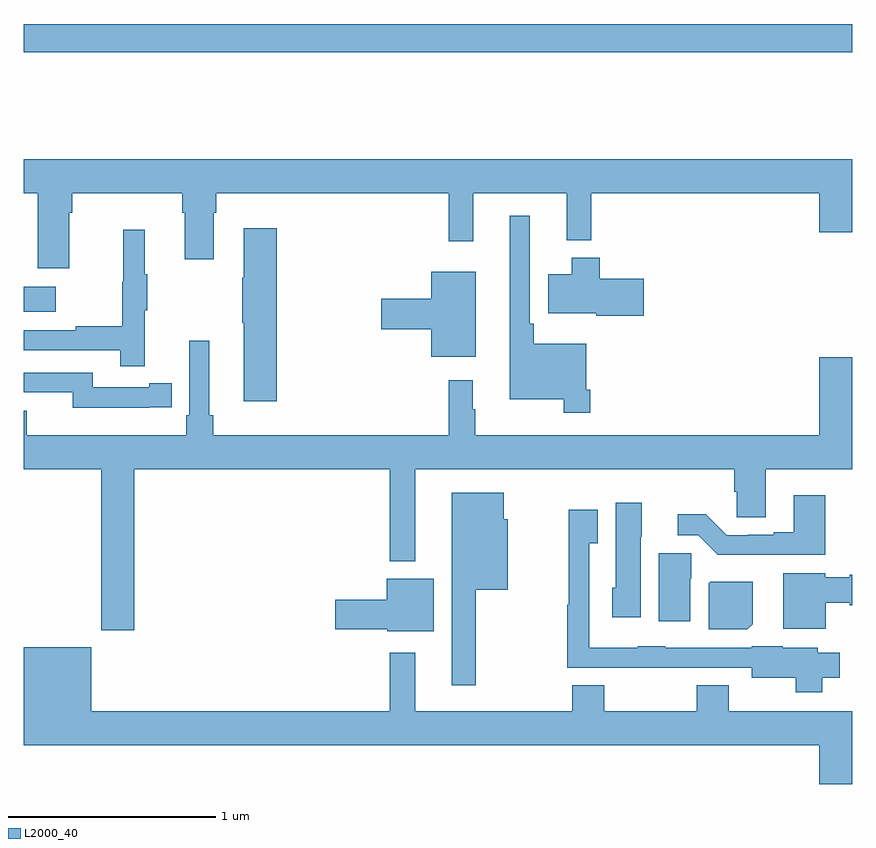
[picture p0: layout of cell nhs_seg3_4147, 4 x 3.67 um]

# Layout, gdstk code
import gdstk
lib = gdstk.Library(unit=1e-6, precision=1e-09)
def R(c, l, rs):  # rectangles x0, y0, x1, y1
    for r in rs: c.add(gdstk.rectangle(r[:2], r[2:], *l))
def P(c, l, *ps):  # polygons
    for p in ps: c.add(gdstk.Polygon(p, *l))
L2000_40 = (2000, 40)

nhs_seg3_4147 = lib.new_cell('nhs_seg3_4147')
R(nhs_seg3_4147, L2000_40, [(329,730.979,329.155,731.101), (329,732.232,333,732.368)])
P(nhs_seg3_4147, L2000_40, [(329,731.552),(329.069,731.552),(329.069,731.19),(329.221,731.19),(329.221,731.456),(329.234,731.456),(329.234,731.552),(329.765,731.552),(329.765,731.456),(329.777,731.456),(329.777,731.232),(329.917,731.232),(329.917,731.456),(329.93,731.456),(329.93,731.552),(331.051,731.552),(331.051,731.319),(331.169,731.319),(331.169,731.552),(331.622,731.552),(331.622,731.324),(331.739,731.324),(331.739,731.552),(332.84,731.552),(332.84,731.364),(333,731.364),(333,731.716),(329,731.716)],
  [(331.736,730.603),(331.716,730.603),(331.716,730.825),(331.463,730.825),(331.463,730.921),(331.443,730.921),(331.443,731.443),(331.346,731.443),(331.346,730.556),(331.608,730.556),(331.608,730.491),(331.736,730.491)],
  [(330.221,731.383),(330.062,731.383),(330.062,731.144),(330.055,731.144),(330.055,730.927),(330.062,730.927),(330.062,730.548),(330.221,730.548)],
  [(329.585,730.987),(329.596,730.987),(329.596,731.161),(329.585,731.161),(329.585,731.374),(329.482,731.374),(329.482,731.124),(329.475,731.124),(329.475,730.91),(329.251,730.91),(329.251,730.89),(329,730.89),(329,730.794),(329.467,730.794),(329.467,730.716),(329.585,730.716)],
  [(331.993,731.139),(331.781,731.139),(331.781,731.239),(331.646,731.239),(331.646,731.161),(331.532,731.161),(331.532,730.973),(331.764,730.973),(331.764,730.961),(331.993,730.961)],
  [(331.183,731.173),(330.968,731.173),(330.968,731.042),(330.726,731.042),(330.726,730.895),(330.968,730.895),(330.968,730.763),(331.183,730.763)],
  [(329,730.501),(329,730.22),(329.374,730.22),(329.374,729.441),(329.534,729.441),(329.534,730.22),(330.768,730.22),(330.768,729.776),(330.889,729.776),(330.889,730.22),(332.429,730.22),(332.429,730.11),(332.442,730.11),(332.442,729.988),(332.581,729.988),(332.581,730.22),(333,730.22),(333,730.759),(332.84,730.759),(332.84,730.384),(331.18,730.384),(331.18,730.508),(331.168,730.508),(331.168,730.648),(331.051,730.648),(331.051,730.384),(329.915,730.384),(329.915,730.48),(329.896,730.48),(329.896,730.84),(329.799,730.84),(329.799,730.48),(329.786,730.48),(329.786,730.384),(329.014,730.384),(329.014,730.501)],
  [(329.606,730.518),(329.714,730.518),(329.714,730.634),(329.606,730.634),(329.606,730.614),(329.334,730.614),(329.334,730.686),(329,730.686),(329,730.59),(329.238,730.59),(329.238,730.517),(329.606,730.517)],
  [(331.181,729.638),(331.336,729.638),(331.336,729.978),(331.318,729.978),(331.318,730.105),(331.067,730.105),(331.067,729.177),(331.181,729.177)],
  [(332.87,730.093),(332.717,730.093),(332.717,729.916),(332.621,729.916),(332.621,729.903),(332.494,729.903),(332.494,729.9),(332.394,729.9),(332.292,730.003),(332.157,730.003),(332.157,729.9),(332.256,729.9),(332.351,729.806),(332.87,729.806)],
  [(331.978,729.894),(331.984,729.894),(331.984,730.057),(331.859,730.057),(331.859,729.648),(331.841,729.648),(331.841,729.504),(331.978,729.504)],
  [(332.855,729.212),(332.938,729.212),(332.938,729.334),(332.832,729.334),(332.832,729.358),(332.664,729.358),(332.664,729.364),(332.514,729.364),(332.514,729.357),(332.097,729.357),(332.097,729.364),(331.965,729.364),(331.965,729.358),(331.731,729.358),(331.731,729.863),(331.771,729.863),(331.771,730.024),(331.63,730.024),(331.63,729.564),(331.623,729.564),(331.623,729.261),(331.865,729.261),(331.865,729.26),(332.097,729.26),(332.097,729.261),(332.514,729.261),(332.514,729.212),(332.727,729.212),(332.727,729.143),(332.855,729.143)],
  [(332.218,729.69),(332.222,729.69),(332.222,729.813),(332.066,729.813),(332.066,729.486),(332.218,729.486)],
  [(332.872,729.575),(332.988,729.575),(332.988,729.563),(333,729.563),(333,729.71),(332.988,729.71),(332.988,729.697),(332.868,729.697),(332.868,729.718),(332.666,729.718),(332.666,729.449),(332.872,729.449)],
  [(330.979,729.691),(330.752,729.691),(330.752,729.59),(330.504,729.59),(330.504,729.448),(330.756,729.448),(330.756,729.437),(330.979,729.437)],
  [(332.518,729.472),(332.518,729.676),(332.314,729.676),(332.306,729.668),(332.306,729.446),(332.492,729.446)],
  [(333,729.052),(332.403,729.052),(332.403,729.176),(332.248,729.176),(332.248,729.052),(331.803,729.052),(331.803,729.176),(331.648,729.176),(331.648,729.052),(330.889,729.052),(330.889,729.334),(330.768,729.334),(330.768,729.052),(329.326,729.052),(329.326,729.361),(329,729.361),(329,728.888),(332.84,728.888),(332.84,728.7),(333,728.7)])

lib.write_gds('nhs_seg3_4147.gds')
